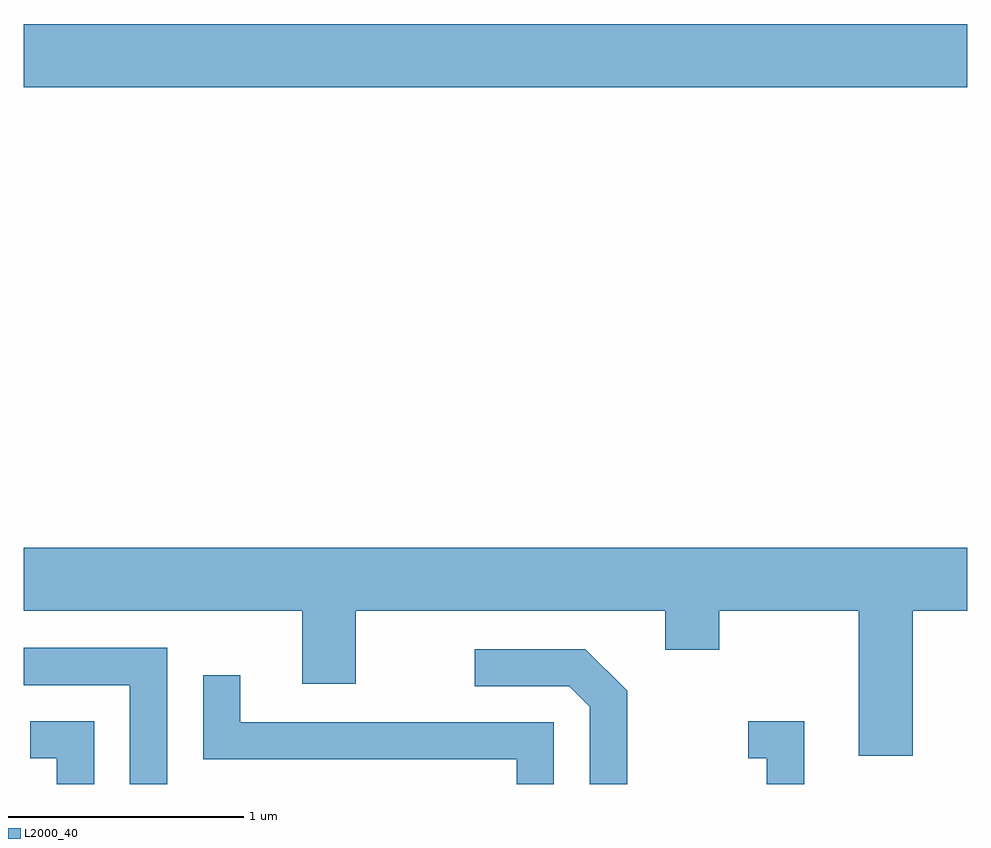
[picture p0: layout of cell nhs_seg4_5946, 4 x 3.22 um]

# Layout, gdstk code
import gdstk
lib = gdstk.Library(unit=1e-6, precision=1e-09)
def R(c, l, rs):  # rectangles x0, y0, x1, y1
    for r in rs: c.add(gdstk.rectangle(r[:2], r[2:], *l))
def P(c, l, *ps):  # polygons
    for p in ps: c.add(gdstk.Polygon(p, *l))
L2000_40 = (2000, 40)

nhs_seg4_5946 = lib.new_cell('nhs_seg4_5946')
R(nhs_seg4_5946, L2000_40, [(359.611,1316.936,363.611,1317.204)])
P(nhs_seg4_5946, L2000_40, [(363.379,1314.716),(363.611,1314.716),(363.611,1314.984),(359.611,1314.984),(359.611,1314.716),(360.791,1314.716),(360.791,1314.406),(361.019,1314.406),(361.019,1314.716),(362.331,1314.716),(362.331,1314.551),(362.559,1314.551),(362.559,1314.716),(363.151,1314.716),(363.151,1314.101),(363.379,1314.101)],
  [(360.219,1314.559),(359.611,1314.559),(359.611,1314.401),(360.061,1314.401),(360.061,1313.982),(360.219,1313.982)],
  [(362.169,1314.377),(361.992,1314.554),(361.523,1314.554),(361.523,1314.396),(361.924,1314.396),(362.011,1314.309),(362.011,1313.982),(362.169,1313.982)],
  [(361.859,1314.244),(360.529,1314.244),(360.529,1314.443),(360.371,1314.443),(360.371,1314.086),(361.701,1314.086),(361.701,1313.982),(361.859,1313.982)],
  [(359.909,1314.249),(359.638,1314.249),(359.638,1314.091),(359.751,1314.091),(359.751,1313.982),(359.909,1313.982)],
  [(362.919,1314.249),(362.683,1314.249),(362.683,1314.091),(362.761,1314.091),(362.761,1313.982),(362.919,1313.982)])

lib.write_gds('nhs_seg4_5946.gds')
